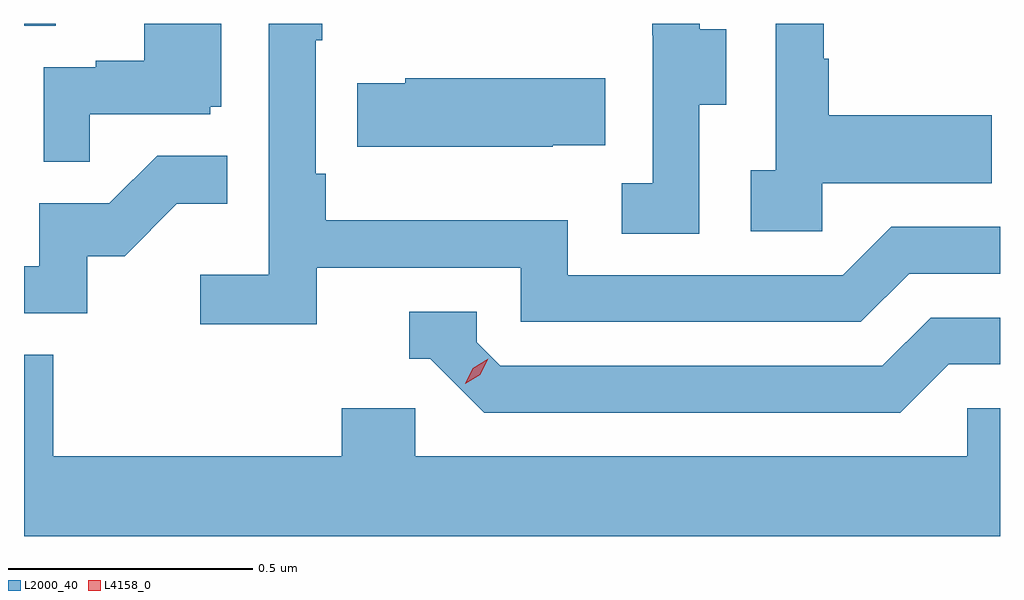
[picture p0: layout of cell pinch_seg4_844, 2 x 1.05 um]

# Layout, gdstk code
import gdstk
lib = gdstk.Library(unit=1e-6, precision=1e-09)
def R(c, l, rs):  # rectangles x0, y0, x1, y1
    for r in rs: c.add(gdstk.rectangle(r[:2], r[2:], *l))
def P(c, l, *ps):  # polygons
    for p in ps: c.add(gdstk.Polygon(p, *l))
L2000_40 = (2000, 40)
L4158_0 = (4158, 0)

pinch_seg4_844 = lib.new_cell('pinch_seg4_844')
R(pinch_seg4_844, L2000_40, [(825.104,797.866,825.169,797.87)])
P(pinch_seg4_844, L2000_40, [(825.704,797.37),(826.122,797.37),(826.122,797.259),(826.819,797.259),(826.918,797.358),(827.104,797.358),(827.104,797.454),(826.881,797.454),(826.782,797.355),(826.218,797.355),(826.218,797.467),(825.722,797.467),(825.722,797.563),(825.702,797.563),(825.702,797.836),(825.715,797.836),(825.715,797.87),(825.606,797.87),(825.606,797.356),(825.465,797.356),(825.465,797.254),(825.704,797.254)],
  [(826.488,797.704),(826.543,797.704),(826.543,797.859),(826.489,797.859),(826.489,797.87),(826.391,797.87),(826.391,797.847),(826.392,797.847),(826.392,797.543),(826.329,797.543),(826.329,797.44),(826.488,797.44)],
  [(826.74,797.543),(827.087,797.543),(827.087,797.683),(826.753,797.683),(826.753,797.798),(826.743,797.798),(826.743,797.87),(826.644,797.87),(826.644,797.57),(826.593,797.57),(826.593,797.445),(826.74,797.445)],
  [(825.239,797.685),(825.486,797.685),(825.486,797.7),(825.508,797.7),(825.508,797.87),(825.35,797.87),(825.35,797.794),(825.251,797.794),(825.251,797.781),(825.144,797.781),(825.144,797.587),(825.239,797.587)],
  [(826.187,797.621),(826.295,797.621),(826.295,797.758),(825.885,797.758),(825.885,797.748),(825.787,797.748),(825.787,797.618),(826.187,797.618)],
  [(825.234,797.394),(825.31,797.394),(825.417,797.501),(825.521,797.501),(825.521,797.6),(825.377,797.6),(825.279,797.502),(825.135,797.502),(825.135,797.373),(825.104,797.373),(825.104,797.277),(825.234,797.277)],
  [(826.999,797.172),(827.104,797.172),(827.104,797.268),(826.962,797.268),(826.863,797.169),(826.08,797.169),(826.032,797.217),(826.032,797.28),(825.893,797.28),(825.893,797.184),(825.936,797.184),(826.047,797.073),(826.9,797.073)],
  [(827.104,797.082),(827.037,797.082),(827.037,796.984),(825.906,796.984),(825.906,797.082),(825.755,797.082),(825.755,796.984),(825.164,796.984),(825.164,797.192),(825.104,797.192),(825.104,796.82),(827.104,796.82)])
P(pinch_seg4_844, L4158_0, [(826.008,797.132),(826.008,797.132),(826.024,797.164),(826.055,797.184),(826.055,797.184),(826.055,797.184),(826.039,797.151),(826.008,797.132)])

lib.write_gds('pinch_seg4_844.gds')
